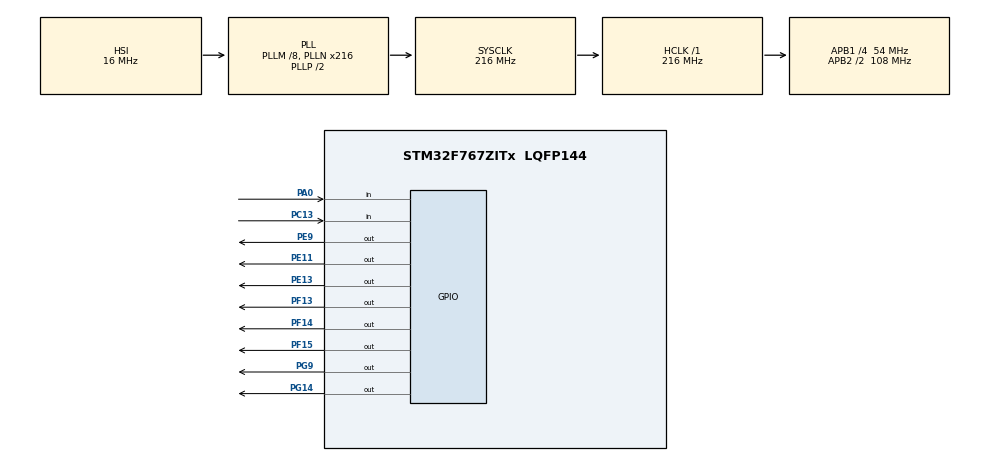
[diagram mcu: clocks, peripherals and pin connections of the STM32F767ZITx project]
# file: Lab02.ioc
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Mcu.Family=STM32F7
Mcu.Name=STM32F767ZITx
Mcu.Package=LQFP144
NVIC.PriorityGroup=NVIC_PRIORITYGROUP_4
PA0/WKUP.GPIO_Mode=GPIO_MODE_INPUT
PA0/WKUP.Signal=GPIO_Input
PC13.GPIO_Mode=GPIO_MODE_INPUT
PC13.Signal=GPIO_Input
PE11.GPIO_ModeDefaultOutputPP=GPIO_MODE_OUTPUT_PP
PE11.Signal=GPIO_Output
PE13.GPIO_ModeDefaultOutputPP=GPIO_MODE_OUTPUT_PP
PE13.Signal=GPIO_Output
PE9.GPIO_ModeDefaultOutputPP=GPIO_MODE_OUTPUT_PP
PE9.Signal=GPIO_Output
PF13.GPIO_ModeDefaultOutputPP=GPIO_MODE_OUTPUT_PP
PF13.Signal=GPIO_Output
PF14.GPIO_ModeDefaultOutputPP=GPIO_MODE_OUTPUT_PP
PF14.Signal=GPIO_Output
PF15.GPIO_ModeDefaultOutputPP=GPIO_MODE_OUTPUT_PP
PF15.Signal=GPIO_Output
PG14.GPIO_ModeDefaultOutputPP=GPIO_MODE_OUTPUT_PP
PG14.Signal=GPIO_Output
PG9.GPIO_ModeDefaultOutputPP=GPIO_MODE_OUTPUT_PP
PG9.Signal=GPIO_Output
ProjectManager.HeapSize=0x200
ProjectManager.StackSize=0x400
ProjectManager.TargetToolchain=STM32CubeIDE
RCC.AHBFreq_Value=216000000
RCC.APB1CLKDivider=RCC_HCLK_DIV4
RCC.APB1Freq_Value=54000000
RCC.APB1TimFreq_Value=108000000
RCC.APB2CLKDivider=RCC_HCLK_DIV2
RCC.APB2Freq_Value=108000000
RCC.APB2TimFreq_Value=216000000
RCC.CortexFreq_Value=216000000
RCC.HCLKFreq_Value=216000000
RCC.HSE_VALUE=25000000
RCC.HSI_VALUE=16000000
RCC.LSE_VALUE=32768
RCC.PLLM=8
RCC.PLLN=216
RCC.SYSCLKFreq_VALUE=216000000
RCC.SYSCLKSource=RCC_SYSCLKSOURCE_PLLCLK
RCC.USBFreq_Value=216000000
RCC.VCOOutputFreq_Value=432000000
board=custom

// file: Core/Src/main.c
/* USER CODE BEGIN Header */
/**
  ******************************************************************************
  * @file           : main.c
  * @brief          : Main program body
  ******************************************************************************
  * @attention
  *
  * Copyright (c) 2023 STMicroelectronics.
  * All rights reserved.
  *
  * This software is licensed under terms that can be found in the LICENSE file
  * in the root directory of this software component.
  * If no LICENSE file comes with this software, it is provided AS-IS.
  *
  ******************************************************************************
  */
/* USER CODE END Header */
#include "main.h"
#include "gpio.h"

/* USER CODE BEGIN PV */
uint8_t n = 0;
uint8_t reverse = 0;
uint8_t clicked = 0;
/* USER CODE END PV */

void SystemClock_Config(void);

int main(void)
{

  /* MCU Configuration--------------------------------------------------------*/

  /* Reset of all peripherals, Initializes the Flash interface and the Systick. */
  HAL_Init();

  /* Configure the system clock */
  SystemClock_Config();

  /* Initialize all configured peripherals */
  MX_GPIO_Init();
  /* USER CODE BEGIN 2 */
  	uint8_t state[9][8] =
  			{
  			{0,0,0,0,0,0,0,0},
  			{0,0,0,0,0,0,0,1},
  			{0,0,0,0,0,0,1,0},
			{0,0,0,0,0,1,0,0},
			{0,0,0,0,1,0,0,0},
			{0,0,0,1,0,0,0,0},
			{0,0,1,0,0,0,0,0},
			{0,1,0,0,0,0,0,0},
			{1,0,0,0,0,0,0,0}};
  /* USER CODE END 2 */

  /* Infinite loop */
  while (1)
  {

    /* USER CODE BEGIN 3 */
	  //B1

	//check button is pressed

	  if (HAL_GPIO_ReadPin(GPIOC, GPIO_PIN_13) == GPIO_PIN_SET)
	  {
		clicked = 1;
		if (n>=8) {
			n =  1 ;
		}
		else{
			n++;
		}

		HAL_Delay(300);
		HAL_GPIO_WritePin(GPIOF, GPIO_PIN_13,state[n][0]);
		HAL_GPIO_WritePin(GPIOE, GPIO_PIN_9, state[n][1]);
		HAL_GPIO_WritePin(GPIOE, GPIO_PIN_11,state[n][2]);
		HAL_GPIO_WritePin(GPIOF, GPIO_PIN_14,state[n][3]);
		HAL_GPIO_WritePin(GPIOE, GPIO_PIN_13,state[n][4]);
		HAL_GPIO_WritePin(GPIOF, GPIO_PIN_15,state[n][5]);
		HAL_GPIO_WritePin(GPIOG, GPIO_PIN_14,state[n][6]);
		HAL_GPIO_WritePin(GPIOG, GPIO_PIN_9, state[n][7]);

	  }

		  reverse = n-1;

	if(clicked ==1){
	  if(HAL_GPIO_ReadPin(GPIOA, GPIO_PIN_0) == GPIO_PIN_RESET){

		  for(reverse;reverse!=n;reverse--){
		  if(reverse == 0)
		  {
			  reverse = 8;
		  }
			 	  HAL_Delay(300);
			 	  HAL_GPIO_WritePin(GPIOF, GPIO_PIN_13,state[reverse][0]);
			 	  HAL_GPIO_WritePin(GPIOE, GPIO_PIN_9,state[reverse][1]);
			 	  HAL_GPIO_WritePin(GPIOE, GPIO_PIN_11,state[reverse][2]);
			 	  HAL_GPIO_WritePin(GPIOF, GPIO_PIN_14,state[reverse][3]);
			 	  HAL_GPIO_WritePin(GPIOE, GPIO_PIN_13,state[reverse][4]);
			 	  HAL_GPIO_WritePin(GPIOF, GPIO_PIN_15,state[reverse][5]);
			 	  HAL_GPIO_WritePin(GPIOG, GPIO_PIN_14,state[reverse][6]);
			 	  HAL_GPIO_WritePin(GPIOG, GPIO_PIN_9,state[reverse][7]);

		  }
		  HAL_Delay(300);
		  			 	  HAL_GPIO_WritePin(GPIOF, GPIO_PIN_13,state[reverse][0]);
		  			 	  HAL_GPIO_WritePin(GPIOE, GPIO_PIN_9,state[reverse][1]);
		  			 	  HAL_GPIO_WritePin(GPIOE, GPIO_PIN_11,state[reverse][2]);
		  			 	  HAL_GPIO_WritePin(GPIOF, GPIO_PIN_14,state[reverse][3]);
		  			 	  HAL_GPIO_WritePin(GPIOE, GPIO_PIN_13,state[reverse][4]);
		  			 	  HAL_GPIO_WritePin(GPIOF, GPIO_PIN_15,state[reverse][5]);
		  			 	  HAL_GPIO_WritePin(GPIOG, GPIO_PIN_14,state[reverse][6]);
		  			 	  HAL_GPIO_WritePin(GPIOG, GPIO_PIN_9,state[reverse][7]);

	  }
	}
	if(clicked == 0){
		 if (HAL_GPIO_ReadPin(GPIOA, GPIO_PIN_0) == GPIO_PIN_RESET){

			 for(int i = 0;i<=9;i++)   {
				 HAL_Delay(300);
			  			 	  HAL_GPIO_WritePin(GPIOF, GPIO_PIN_13,state[i][0]);
			  			 	  HAL_GPIO_WritePin(GPIOE, GPIO_PIN_9,state[i][1]);
			  			 	  HAL_GPIO_WritePin(GPIOE, GPIO_PIN_11,state[i][2]);
			  			 	  HAL_GPIO_WritePin(GPIOF, GPIO_PIN_14,state[i][3]);
			  			 	  HAL_GPIO_WritePin(GPIOE, GPIO_PIN_13,state[i][4]);
			  			 	  HAL_GPIO_WritePin(GPIOF, GPIO_PIN_15,state[i][5]);
			  			 	  HAL_GPIO_WritePin(GPIOG, GPIO_PIN_14,state[i][6]);
			  			 	  HAL_GPIO_WritePin(GPIOG, GPIO_PIN_9,state[i][7]);

			 }
		  			 	  HAL_GPIO_WritePin(GPIOF, GPIO_PIN_13,0);
	}}

  /* USER CODE END 3 */
}
}

void SystemClock_Config(void)
{
  RCC_OscInitTypeDef RCC_OscInitStruct = {0};
  RCC_ClkInitTypeDef RCC_ClkInitStruct = {0};

  /** Configure the main internal regulator output voltage
  */
  __HAL_RCC_PWR_CLK_ENABLE();
  __HAL_PWR_VOLTAGESCALING_CONFIG(PWR_REGULATOR_VOLTAGE_SCALE1);

  /** Initializes the RCC Oscillators according to the specified parameters
  * in the RCC_OscInitTypeDef structure.
  */
  RCC_OscInitStruct.OscillatorType = RCC_OSCILLATORTYPE_HSI;
  RCC_OscInitStruct.HSIState = RCC_HSI_ON;
  RCC_OscInitStruct.HSICalibrationValue = RCC_HSICALIBRATION_DEFAULT;
  RCC_OscInitStruct.PLL.PLLState = RCC_PLL_ON;
  RCC_OscInitStruct.PLL.PLLSource = RCC_PLLSOURCE_HSI;
  RCC_OscInitStruct.PLL.PLLM = 8;
  RCC_OscInitStruct.PLL.PLLN = 216;
  RCC_OscInitStruct.PLL.PLLP = RCC_PLLP_DIV2;
  RCC_OscInitStruct.PLL.PLLQ = 2;
  RCC_OscInitStruct.PLL.PLLR = 2;
  if (HAL_RCC_OscConfig(&RCC_OscInitStruct) != HAL_OK)
  {
    Error_Handler();
  }

  /** Activate the Over-Drive mode
  */
  if (HAL_PWREx_EnableOverDrive() != HAL_OK)
  {
    Error_Handler();
  }

  /** Initializes the CPU, AHB and APB buses clocks
  */
  RCC_ClkInitStruct.ClockType = RCC_CLOCKTYPE_HCLK|RCC_CLOCKTYPE_SYSCLK
                              |RCC_CLOCKTYPE_PCLK1|RCC_CLOCKTYPE_PCLK2;
  RCC_ClkInitStruct.SYSCLKSource = RCC_SYSCLKSOURCE_PLLCLK;
  RCC_ClkInitStruct.AHBCLKDivider = RCC_SYSCLK_DIV1;
  RCC_ClkInitStruct.APB1CLKDivider = RCC_HCLK_DIV4;
  RCC_ClkInitStruct.APB2CLKDivider = RCC_HCLK_DIV2;

  if (HAL_RCC_ClockConfig(&RCC_ClkInitStruct, FLASH_LATENCY_7) != HAL_OK)
  {
    Error_Handler();
  }
}

void Error_Handler(void)
{
  __disable_irq();
  while (1)
  {
  }
}
